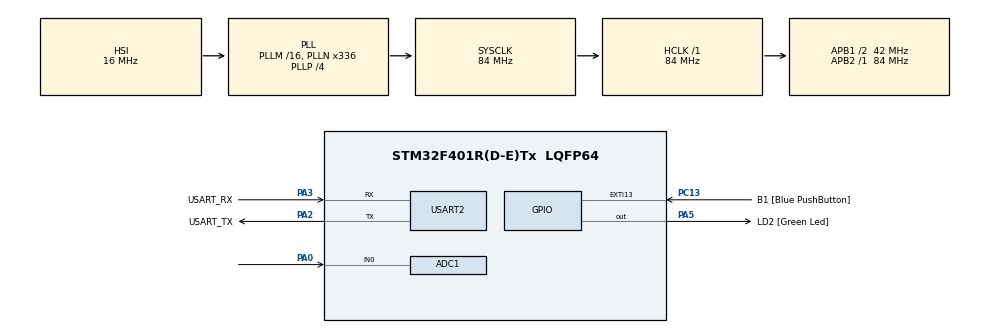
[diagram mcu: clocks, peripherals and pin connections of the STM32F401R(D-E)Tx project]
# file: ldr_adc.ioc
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ADC1.Channel-0\#ChannelRegularConversion=ADC_CHANNEL_0
ADC1.DMAContinuousRequests=ENABLE
ADC1.ExternalTrigConv=ADC_EXTERNALTRIGCONV_T2_TRGO
ADC1.NbrOfConversion=1
ADC1.NbrOfConversionFlag=1
ADC1.Rank-0\#ChannelRegularConversion=1
ADC1.SamplingTime-0\#ChannelRegularConversion=ADC_SAMPLETIME_480CYCLES
ADC1.master=1
Dma.ADC1.0.Direction=DMA_PERIPH_TO_MEMORY
Dma.ADC1.0.FIFOMode=DMA_FIFOMODE_DISABLE
Dma.ADC1.0.Instance=DMA2_Stream0
Dma.ADC1.0.MemDataAlignment=DMA_MDATAALIGN_HALFWORD
Dma.ADC1.0.MemInc=DMA_MINC_ENABLE
Dma.ADC1.0.Mode=DMA_CIRCULAR
Dma.ADC1.0.PeriphDataAlignment=DMA_PDATAALIGN_HALFWORD
Dma.ADC1.0.PeriphInc=DMA_PINC_DISABLE
Dma.ADC1.0.Priority=DMA_PRIORITY_HIGH
Dma.Request0=ADC1
Dma.Request1=USART2_TX
Dma.USART2_TX.1.Direction=DMA_MEMORY_TO_PERIPH
Dma.USART2_TX.1.FIFOMode=DMA_FIFOMODE_DISABLE
Dma.USART2_TX.1.Instance=DMA1_Stream6
Dma.USART2_TX.1.MemDataAlignment=DMA_MDATAALIGN_BYTE
Dma.USART2_TX.1.MemInc=DMA_MINC_ENABLE
Dma.USART2_TX.1.Mode=DMA_NORMAL
Dma.USART2_TX.1.PeriphDataAlignment=DMA_PDATAALIGN_BYTE
Dma.USART2_TX.1.PeriphInc=DMA_PINC_DISABLE
Dma.USART2_TX.1.Priority=DMA_PRIORITY_HIGH
Mcu.Family=STM32F4
Mcu.Name=STM32F401R(D-E)Tx
Mcu.Package=LQFP64
NVIC.ADC_IRQn=true\:0\:0\:false\:false\:true\:true\:true\:true
NVIC.DMA1_Stream6_IRQn=true\:0\:0\:false\:false\:true\:false\:true\:true
NVIC.DMA2_Stream0_IRQn=true\:0\:0\:false\:false\:true\:false\:true\:true
NVIC.PriorityGroup=NVIC_PRIORITYGROUP_4
NVIC.USART2_IRQn=true\:0\:0\:false\:false\:true\:true\:true\:true
PA0-WKUP.Signal=ADCx_IN0
PA13.GPIO_Label=TMS
PA13.Mode=Trace_Asynchronous_SW
PA13.Signal=SYS_JTMS-SWDIO
PA14.GPIO_Label=TCK
PA14.Mode=Trace_Asynchronous_SW
PA14.Signal=SYS_JTCK-SWCLK
PA2.GPIO_Label=USART_TX
PA2.GPIO_Mode=GPIO_MODE_AF_PP
PA2.GPIO_PuPd=GPIO_NOPULL
PA2.GPIO_Speed=GPIO_SPEED_FREQ_LOW
PA2.Mode=Asynchronous
PA2.Signal=USART2_TX
PA3.GPIO_Label=USART_RX
PA3.GPIO_Mode=GPIO_MODE_AF_PP
PA3.GPIO_PuPd=GPIO_NOPULL
PA3.GPIO_Speed=GPIO_SPEED_FREQ_LOW
PA3.Mode=Asynchronous
PA3.Signal=USART2_RX
PA5.GPIO_Label=LD2 [Green Led]
PA5.GPIO_Mode=GPIO_MODE_OUTPUT_PP
PA5.GPIO_PuPd=GPIO_NOPULL
PA5.GPIO_Speed=GPIO_SPEED_FREQ_LOW
PA5.Signal=GPIO_Output
PB3.GPIO_Label=SWO
PB3.Mode=Trace_Asynchronous_SW
PB3.Signal=SYS_JTDO-SWO
PC13-ANTI_TAMP.GPIO_Label=B1 [Blue PushButton]
PC13-ANTI_TAMP.GPIO_ModeDefaultEXTI=GPIO_MODE_IT_FALLING
PC13-ANTI_TAMP.GPIO_PuPd=GPIO_NOPULL
PC13-ANTI_TAMP.Signal=GPXTI13
PC14-OSC32_IN.Mode=LSE-External-Oscillator
PC14-OSC32_IN.Signal=RCC_OSC32_IN
PC15-OSC32_OUT.Mode=LSE-External-Oscillator
PC15-OSC32_OUT.Signal=RCC_OSC32_OUT
PH0\ -\ OSC_IN.Mode=HSE-External-Clock-Source
PH0\ -\ OSC_IN.Signal=RCC_OSC_IN
PH1\ -\ OSC_OUT.Mode=HSE-External-Clock-Source
PH1\ -\ OSC_OUT.Signal=RCC_OSC_OUT
ProjectManager.HeapSize=0x200
ProjectManager.StackSize=0x400
ProjectManager.TargetToolchain=STM32CubeIDE
RCC.48MHZClocksFreq_Value=48000000
RCC.AHBFreq_Value=84000000
RCC.APB1CLKDivider=RCC_HCLK_DIV2
RCC.APB1Freq_Value=42000000
RCC.APB1TimFreq_Value=84000000
RCC.APB2Freq_Value=84000000
RCC.APB2TimFreq_Value=84000000
RCC.CortexFreq_Value=84000000
RCC.HCLKFreq_Value=84000000
RCC.HSE_VALUE=8000000
RCC.HSI_VALUE=16000000
RCC.PLLN=336
RCC.PLLP=RCC_PLLP_DIV4
RCC.PLLQ=7
RCC.SYSCLKFreq_VALUE=84000000
RCC.SYSCLKSource=RCC_SYSCLKSOURCE_PLLCLK
RCC.VCOOutputFreq_Value=336000000
SH.ADCx_IN0.0=ADC1_IN0,IN0
TIM2.Period=10-1
TIM2.Prescaler=8400-1
TIM2.TIM_MasterOutputTrigger=TIM_TRGO_UPDATE
USART2.VirtualMode=VM_ASYNC
VP_TIM2_VS_ClockSourceINT.Mode=Internal
board=NUCLEO-F401RE

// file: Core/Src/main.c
/* USER CODE BEGIN Header */
/**
  ******************************************************************************
  * @file           : main.c
  * @brief          : Main program body
  ******************************************************************************
  * @attention
  *
  * Copyright (c) 2025 STMicroelectronics.
  * All rights reserved.
  *
  * This software is licensed under terms that can be found in the LICENSE file
  * in the root directory of this software component.
  * If no LICENSE file comes with this software, it is provided AS-IS.
  *
  ******************************************************************************
  */
/* USER CODE END Header */
#include "main.h"

/* USER CODE BEGIN Includes */
#include <string.h>
#include <stdio.h>
/* USER CODE END Includes */

/* USER CODE BEGIN PD */
#define FSR 3.3
#define R39 100000.0
#define RESOLUTION_STEPS 4096
#define BUF_SIZE 1000
/* USER CODE END PD */

ADC_HandleTypeDef hadc1;
DMA_HandleTypeDef hdma_adc1;

TIM_HandleTypeDef htim2;

UART_HandleTypeDef huart2;
DMA_HandleTypeDef hdma_usart2_tx;

/* USER CODE BEGIN PV */
uint16_t buffer_adc[BUF_SIZE]; // 1000 size so every 0,5 sec acquisitions are saved
float avg_volt, avg_res, avg_lux, sum = 0.0;
char string[64];
/* USER CODE END PV */

void SystemClock_Config(void);
static void MX_GPIO_Init(void);
static void MX_DMA_Init(void);
static void MX_USART2_UART_Init(void);
static void MX_ADC1_Init(void);
static void MX_TIM2_Init(void);
/* USER CODE BEGIN PFP */
void HAL_ADC_ConvHalfCpltCallback(ADC_HandleTypeDef *hadc){
	if(hadc->Instance == ADC1){
		for(int i = 0; i<500; i++){
			sum = sum + buffer_adc[i];
		}
	}
}

void HAL_ADC_ConvCpltCallback(ADC_HandleTypeDef *hadc){
	if(hadc->Instance == ADC1){
		for(int i = 0; i<500; i++){
			sum = sum + buffer_adc[i+500];
		}
		avg_volt = ((sum/1000.0) * FSR/ RESOLUTION_STEPS);
		avg_res = (avg_volt * R39) / (FSR - avg_volt);
		avg_lux = 10 * (R39 / avg_res);
		int length = snprintf(string, sizeof(string), "Average LDR: %.3f, Average LUX: %.3f\n", avg_res, avg_lux);
		HAL_UART_Transmit_DMA(&huart2, string, length);
		sum = 0.0;
	}
}
/* USER CODE END PFP */

int main(void)
{

  /* MCU Configuration--------------------------------------------------------*/

  /* Reset of all peripherals, Initializes the Flash interface and the Systick. */
  HAL_Init();

  /* Configure the system clock */
  SystemClock_Config();

  /* Initialize all configured peripherals */
  MX_GPIO_Init();
  MX_DMA_Init();
  MX_USART2_UART_Init();
  MX_ADC1_Init();
  MX_TIM2_Init();
  /* USER CODE BEGIN 2 */
  HAL_TIM_Base_Start(&htim2);
  HAL_ADC_Start_DMA(&hadc1, buffer_adc, BUF_SIZE);
  /* USER CODE END 2 */

  /* Infinite loop */
  while (1)
  {

  }
}

void SystemClock_Config(void)
{
  RCC_OscInitTypeDef RCC_OscInitStruct = {0};
  RCC_ClkInitTypeDef RCC_ClkInitStruct = {0};

  /** Configure the main internal regulator output voltage
  */
  __HAL_RCC_PWR_CLK_ENABLE();
  __HAL_PWR_VOLTAGESCALING_CONFIG(PWR_REGULATOR_VOLTAGE_SCALE2);

  /** Initializes the RCC Oscillators according to the specified parameters
  * in the RCC_OscInitTypeDef structure.
  */
  RCC_OscInitStruct.OscillatorType = RCC_OSCILLATORTYPE_HSI;
  RCC_OscInitStruct.HSIState = RCC_HSI_ON;
  RCC_OscInitStruct.HSICalibrationValue = RCC_HSICALIBRATION_DEFAULT;
  RCC_OscInitStruct.PLL.PLLState = RCC_PLL_ON;
  RCC_OscInitStruct.PLL.PLLSource = RCC_PLLSOURCE_HSI;
  RCC_OscInitStruct.PLL.PLLM = 16;
  RCC_OscInitStruct.PLL.PLLN = 336;
  RCC_OscInitStruct.PLL.PLLP = RCC_PLLP_DIV4;
  RCC_OscInitStruct.PLL.PLLQ = 7;
  if (HAL_RCC_OscConfig(&RCC_OscInitStruct) != HAL_OK)
  {
    Error_Handler();
  }

  /** Initializes the CPU, AHB and APB buses clocks
  */
  RCC_ClkInitStruct.ClockType = RCC_CLOCKTYPE_HCLK|RCC_CLOCKTYPE_SYSCLK
                              |RCC_CLOCKTYPE_PCLK1|RCC_CLOCKTYPE_PCLK2;
  RCC_ClkInitStruct.SYSCLKSource = RCC_SYSCLKSOURCE_PLLCLK;
  RCC_ClkInitStruct.AHBCLKDivider = RCC_SYSCLK_DIV1;
  RCC_ClkInitStruct.APB1CLKDivider = RCC_HCLK_DIV2;
  RCC_ClkInitStruct.APB2CLKDivider = RCC_HCLK_DIV1;

  if (HAL_RCC_ClockConfig(&RCC_ClkInitStruct, FLASH_LATENCY_2) != HAL_OK)
  {
    Error_Handler();
  }
}

static void MX_ADC1_Init(void)
{

  ADC_ChannelConfTypeDef sConfig = {0};

  /** Configure the global features of the ADC (Clock, Resolution, Data Alignment and number of conversion)
  */
  hadc1.Instance = ADC1;
  hadc1.Init.ClockPrescaler = ADC_CLOCK_SYNC_PCLK_DIV4;
  hadc1.Init.Resolution = ADC_RESOLUTION_12B;
  hadc1.Init.ScanConvMode = DISABLE;
  hadc1.Init.ContinuousConvMode = DISABLE;
  hadc1.Init.DiscontinuousConvMode = DISABLE;
  hadc1.Init.ExternalTrigConvEdge = ADC_EXTERNALTRIGCONVEDGE_RISING;
  hadc1.Init.ExternalTrigConv = ADC_EXTERNALTRIGCONV_T2_TRGO;
  hadc1.Init.DataAlign = ADC_DATAALIGN_RIGHT;
  hadc1.Init.NbrOfConversion = 1;
  hadc1.Init.DMAContinuousRequests = ENABLE;
  hadc1.Init.EOCSelection = ADC_EOC_SINGLE_CONV;
  if (HAL_ADC_Init(&hadc1) != HAL_OK)
  {
    Error_Handler();
  }

  /** Configure for the selected ADC regular channel its corresponding rank in the sequencer and its sample time.
  */
  sConfig.Channel = ADC_CHANNEL_0;
  sConfig.Rank = 1;
  sConfig.SamplingTime = ADC_SAMPLETIME_480CYCLES;
  if (HAL_ADC_ConfigChannel(&hadc1, &sConfig) != HAL_OK)
  {
    Error_Handler();
  }

}

static void MX_TIM2_Init(void)
{

  TIM_ClockConfigTypeDef sClockSourceConfig = {0};
  TIM_MasterConfigTypeDef sMasterConfig = {0};

  htim2.Instance = TIM2;
  htim2.Init.Prescaler = 8400-1;
  htim2.Init.CounterMode = TIM_COUNTERMODE_UP;
  htim2.Init.Period = 10-1;
  htim2.Init.ClockDivision = TIM_CLOCKDIVISION_DIV1;
  htim2.Init.AutoReloadPreload = TIM_AUTORELOAD_PRELOAD_DISABLE;
  if (HAL_TIM_Base_Init(&htim2) != HAL_OK)
  {
    Error_Handler();
  }
  sClockSourceConfig.ClockSource = TIM_CLOCKSOURCE_INTERNAL;
  if (HAL_TIM_ConfigClockSource(&htim2, &sClockSourceConfig) != HAL_OK)
  {
    Error_Handler();
  }
  sMasterConfig.MasterOutputTrigger = TIM_TRGO_UPDATE;
  sMasterConfig.MasterSlaveMode = TIM_MASTERSLAVEMODE_DISABLE;
  if (HAL_TIMEx_MasterConfigSynchronization(&htim2, &sMasterConfig) != HAL_OK)
  {
    Error_Handler();
  }

}

static void MX_USART2_UART_Init(void)
{

  huart2.Instance = USART2;
  huart2.Init.BaudRate = 115200;
  huart2.Init.WordLength = UART_WORDLENGTH_8B;
  huart2.Init.StopBits = UART_STOPBITS_1;
  huart2.Init.Parity = UART_PARITY_NONE;
  huart2.Init.Mode = UART_MODE_TX_RX;
  huart2.Init.HwFlowCtl = UART_HWCONTROL_NONE;
  huart2.Init.OverSampling = UART_OVERSAMPLING_16;
  if (HAL_UART_Init(&huart2) != HAL_OK)
  {
    Error_Handler();
  }

}

static void MX_DMA_Init(void)
{

  /* DMA controller clock enable */
  __HAL_RCC_DMA2_CLK_ENABLE();
  __HAL_RCC_DMA1_CLK_ENABLE();

  /* DMA interrupt init */
  /* DMA1_Stream6_IRQn interrupt configuration */
  HAL_NVIC_SetPriority(DMA1_Stream6_IRQn, 0, 0);
  HAL_NVIC_EnableIRQ(DMA1_Stream6_IRQn);
  /* DMA2_Stream0_IRQn interrupt configuration */
  HAL_NVIC_SetPriority(DMA2_Stream0_IRQn, 0, 0);
  HAL_NVIC_EnableIRQ(DMA2_Stream0_IRQn);

}

static void MX_GPIO_Init(void)
{
  GPIO_InitTypeDef GPIO_InitStruct = {0};

  /* GPIO Ports Clock Enable */
  __HAL_RCC_GPIOC_CLK_ENABLE();
  __HAL_RCC_GPIOH_CLK_ENABLE();
  __HAL_RCC_GPIOA_CLK_ENABLE();
  __HAL_RCC_GPIOB_CLK_ENABLE();

  /*Configure GPIO pin Output Level */
  HAL_GPIO_WritePin(LD2_GPIO_Port, LD2_Pin, GPIO_PIN_RESET);

  /*Configure GPIO pin : B1_Pin */
  GPIO_InitStruct.Pin = B1_Pin;
  GPIO_InitStruct.Mode = GPIO_MODE_IT_FALLING;
  GPIO_InitStruct.Pull = GPIO_NOPULL;
  HAL_GPIO_Init(B1_GPIO_Port, &GPIO_InitStruct);

  /*Configure GPIO pin : LD2_Pin */
  GPIO_InitStruct.Pin = LD2_Pin;
  GPIO_InitStruct.Mode = GPIO_MODE_OUTPUT_PP;
  GPIO_InitStruct.Pull = GPIO_NOPULL;
  GPIO_InitStruct.Speed = GPIO_SPEED_FREQ_LOW;
  HAL_GPIO_Init(LD2_GPIO_Port, &GPIO_InitStruct);

}

void Error_Handler(void)
{
  __disable_irq();
  while (1)
  {
  }
}
